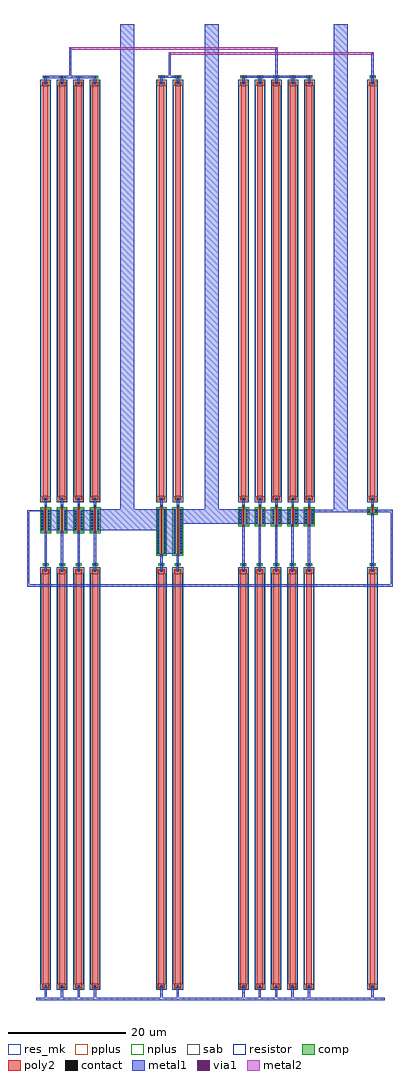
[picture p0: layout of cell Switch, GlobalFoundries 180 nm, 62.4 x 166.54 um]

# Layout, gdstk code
from math import pi, radians
import gdstk
lib = gdstk.Library(unit=1e-6, precision=2e-08)
def R(c, l, rs):  # rectangles x0, y0, x1, y1
    for r in rs: c.add(gdstk.rectangle(r[:2], r[2:], *l))
def A(c, l, x, y, w, h, nx, ny, dx, dy):  # array of equal rectangles
    R(c, l, [(x+i*dx, y+j*dy, x+i*dx+w, y+j*dy+h) for i in range(nx) for j in range(ny)])
comp = (22, 0)
poly2 = (30, 0)
pplus = (31, 0)
nplus = (32, 0)
contact = (33, 0)
metal1 = (34, 0)
via1 = (35, 0)
metal2 = (36, 0)
sab = (49, 0)
resistor = (62, 0)
res_mk = (110, 5)

nfet_3 = lib.new_cell('nfet$3')
R(nfet_3, comp, [(-0.42,0,0,7.84), (0,0,0.66,7.84), (0.66,0,1.08,7.84)])
R(nfet_3, poly2, [(0.2,-0.3,0.48,8.14), (0.16,8.14,0.52,8.5)])
R(nfet_3, nplus, [(-0.6,-0.24,1.26,8.08)])
R(nfet_3, contact, [(-0.32,0.24,-0.1,0.46), (0.76,0.24,0.98,0.46), (-0.32,0.76,-0.1,0.98), (0.76,0.76,0.98,0.98), (-0.32,1.26,-0.1,1.48), (0.76,1.26,0.98,1.48), (-0.32,1.78,-0.1,2), (0.76,1.78,0.98,2), (-0.32,2.28,-0.1,2.5), (0.76,2.28,0.98,2.5), (-0.32,2.8,-0.1,3.02), (0.76,2.8,0.98,3.02), (-0.32,3.3,-0.1,3.52), (0.76,3.3,0.98,3.52), (-0.32,3.82,-0.1,4.04), (0.76,3.82,0.98,4.04), (-0.32,4.32,-0.1,4.54), (0.76,4.32,0.98,4.54), (-0.32,4.84,-0.1,5.06), (0.76,4.84,0.98,5.06), (-0.32,5.34,-0.1,5.56), (0.76,5.34,0.98,5.56), (-0.32,5.86,-0.1,6.08), (0.76,5.86,0.98,6.08), (-0.32,6.36,-0.1,6.58), (0.76,6.36,0.98,6.58), (-0.32,6.88,-0.1,7.1), (0.76,6.88,0.98,7.1), (-0.32,7.38,-0.1,7.6), (0.76,7.38,0.98,7.6), (0.22,8.22,0.44,8.44)])
R(nfet_3, metal1, [(-0.4,0.16,-0.02,7.68), (0.68,0.16,1.06,7.68), (0.14,8.12,0.52,8.52)])

nfet = lib.new_cell('nfet')
R(nfet, comp, [(-0.42,0,0,2.8), (0,0,0.66,2.8), (0.66,0,1.08,2.8)])
R(nfet, poly2, [(0.2,-0.3,0.48,3.1), (0.16,3.1,0.52,3.46)])
R(nfet, nplus, [(-0.6,-0.24,1.26,3.04)])
R(nfet, contact, [(-0.32,0.28,-0.1,0.5), (0.76,0.28,0.98,0.5), (-0.32,0.78,-0.1,1), (0.76,0.78,0.98,1), (-0.32,1.3,-0.1,1.52), (0.76,1.3,0.98,1.52), (-0.32,1.8,-0.1,2.02), (0.76,1.8,0.98,2.02), (-0.32,2.32,-0.1,2.54), (0.76,2.32,0.98,2.54), (0.22,3.18,0.44,3.4)])
R(nfet, metal1, [(-0.4,0.2,-0.02,2.62), (0.68,0.2,1.06,2.62), (0.14,3.08,0.52,3.48)])

ppolyf_u_high_rs_resisto = lib.new_cell('ppolyf_u_high_Rs_resistor$1')
R(ppolyf_u_high_rs_resisto, comp, [(-1.76,0,-1.34,1)])
R(ppolyf_u_high_rs_resisto, poly2, [(-0.64,0,70.64,1)])
R(ppolyf_u_high_rs_resisto, pplus, [(-0.82,-0.18,0,1.18), (70,-0.18,70.82,1.18), (-1.78,-0.02,-1.32,1.02)])
R(ppolyf_u_high_rs_resisto, contact, [(-1.66,0.4,-1.44,0.62), (-0.58,0.4,-0.36,0.62), (70.36,0.4,70.58,0.62)])
R(ppolyf_u_high_rs_resisto, metal1, [(-1.74,0.3,-1.36,0.7), (-0.66,0.3,-0.28,0.7), (70.28,0.3,70.66,0.7)])
R(ppolyf_u_high_rs_resisto, sab, [(-0.1,-0.28,70.1,1.28)])
R(ppolyf_u_high_rs_resisto, resistor, [(-1.04,-0.4,71.04,1.4)])
R(ppolyf_u_high_rs_resisto, res_mk, [(0,0,70,1)])

c_ppolyf_u_high_rs_resisto = lib.new_cell('ppolyf_u_high_Rs_resistor')
R(c_ppolyf_u_high_rs_resisto, comp, [(-1.76,0,-1.34,1)])
R(c_ppolyf_u_high_rs_resisto, poly2, [(-0.64,0,70.64,1)])
R(c_ppolyf_u_high_rs_resisto, pplus, [(-0.82,-0.18,0,1.18), (70,-0.18,70.82,1.18), (-1.78,-0.02,-1.32,1.02)])
R(c_ppolyf_u_high_rs_resisto, contact, [(-1.66,0.4,-1.44,0.62), (-0.58,0.4,-0.36,0.62), (70.36,0.4,70.58,0.62)])
R(c_ppolyf_u_high_rs_resisto, metal1, [(-1.74,0.3,-1.36,0.7), (-0.66,0.3,-0.28,0.7), (70.28,0.3,70.66,0.7)])
R(c_ppolyf_u_high_rs_resisto, sab, [(-0.1,-0.28,70.1,1.28)])
R(c_ppolyf_u_high_rs_resisto, resistor, [(-1.04,-0.4,71.04,1.4)])
R(c_ppolyf_u_high_rs_resisto, res_mk, [(0,0,70,1)])

nfet_5 = lib.new_cell('nfet$5')
R(nfet_5, comp, [(-0.42,0,0,3.92), (0,0,0.66,3.92), (0.66,0,1.08,3.92)])
R(nfet_5, poly2, [(0.2,-0.3,0.48,4.22), (0.16,4.22,0.52,4.58)])
R(nfet_5, nplus, [(-0.6,-0.24,1.26,4.16)])
R(nfet_5, contact, [(-0.32,0.32,-0.1,0.54), (0.76,0.32,0.98,0.54), (-0.32,0.84,-0.1,1.06), (0.76,0.84,0.98,1.06), (-0.32,1.34,-0.1,1.56), (0.76,1.34,0.98,1.56), (-0.32,1.86,-0.1,2.08), (0.76,1.86,0.98,2.08), (-0.32,2.36,-0.1,2.58), (0.76,2.36,0.98,2.58), (-0.32,2.88,-0.1,3.1), (0.76,2.88,0.98,3.1), (-0.32,3.38,-0.1,3.6), (0.76,3.38,0.98,3.6), (0.22,4.3,0.44,4.52)])
R(nfet_5, metal1, [(-0.4,0.24,-0.02,3.68), (0.68,0.24,1.06,3.68), (0.14,4.2,0.52,4.6)])

nfet_6 = lib.new_cell('nfet$6')
R(nfet_6, comp, [(-0.42,0,0,0.84), (0,0,0.66,0.84), (0.66,0,1.08,0.84)])
R(nfet_6, poly2, [(0.2,-0.3,0.48,1.14), (0.16,1.14,0.52,1.5)])
R(nfet_6, nplus, [(-0.6,-0.24,1.26,1.08)])
R(nfet_6, contact, [(-0.32,0.32,-0.1,0.54), (0.76,0.32,0.98,0.54), (0.22,1.22,0.44,1.44)])
R(nfet_6, metal1, [(-0.4,0.22,-0.02,0.62), (0.68,0.22,1.06,0.62), (0.14,1.12,0.52,1.52)])

c_ppolyf_u_high_rs_resisto_ = lib.new_cell('ppolyf_u_high_Rs_resistor$2')
R(c_ppolyf_u_high_rs_resisto_, comp, [(-1.76,0,-1.34,1)])
R(c_ppolyf_u_high_rs_resisto_, poly2, [(-0.64,0,70.64,1)])
R(c_ppolyf_u_high_rs_resisto_, pplus, [(-0.82,-0.18,0,1.18), (70,-0.18,70.82,1.18), (-1.78,-0.02,-1.32,1.02)])
R(c_ppolyf_u_high_rs_resisto_, contact, [(-1.66,0.4,-1.44,0.62), (-0.58,0.4,-0.36,0.62), (70.36,0.4,70.58,0.62)])
R(c_ppolyf_u_high_rs_resisto_, metal1, [(-1.74,0.3,-1.36,0.7), (-0.66,0.3,-0.28,0.7), (70.28,0.3,70.66,0.7)])
R(c_ppolyf_u_high_rs_resisto_, sab, [(-0.1,-0.28,70.1,1.28)])
R(c_ppolyf_u_high_rs_resisto_, resistor, [(-1.04,-0.4,71.04,1.4)])
R(c_ppolyf_u_high_rs_resisto_, res_mk, [(0,0,70,1)])

via_dev = lib.new_cell('via_dev')

switch = lib.new_cell('Switch')
A(switch, metal1, 14.7, -70.14, 0.4, 1.7, 5, 1, 2.8, 0)
A(switch, metal1, 14.7, 2.88, 0.4, 0.7, 5, 1, 2.8, 0)
A(switch, metal1, 14.7, 3.96, 0.4, 6.56, 5, 1, 2.8, 0)
A(switch, metal1, 15.66, 10.72, 1.34, 2.42, 4, 1, 2.8, 0)
A(switch, metal1, 14.74, 14, 0.38, 0.78, 5, 1, 2.8, 0)
A(switch, metal1, -19.06, 86.08, 0.4, 0.7, 4, 1, 2.82, 0)
R(switch, metal1, [(-20.46,-70.54,39.06,-70.14), (-19.04,-70.14,-18.64,-68.44), (-16.24,-70.14,-15.84,-68.44), (-13.4,-70.14,-13,-68.44), (-10.6,-70.14,-10.2,-68.44), (0.7,-70.14,1.1,-68.44), (3.5,-70.14,3.9,-68.44), (36.74,-70.14,37.14,-68.44), (-22,0,40,0.4), (40,0,40.4,12.7), (-22,0.4,-21.6,13.06), (-19.04,2.88,-18.64,3.58), (-16.24,2.88,-15.84,3.58), (-13.4,2.88,-13,3.58), (-10.6,2.88,-10.2,3.58), (0.7,2.88,1.1,3.58), (3.5,2.88,3.9,3.58), (36.74,2.88,37.14,3.58), (-19.04,3.96,-18.64,9.38), (-16.24,3.96,-15.84,9.38), (-13.4,3.96,-13,9.38), (-10.6,3.96,-10.2,9.38), (0.7,3.96,1.1,5.48), (3.5,3.96,3.9,5.48), (36.74,3.96,37.14,12.48), (1.66,5.64,3,13.16), (-18.12,9.62,-16.78,13.06), (-15.32,9.62,-13.94,13.06), (-12.48,9.62,-11.14,13.06), (-9.68,9.62,0.2,13.16), (4.46,10.72,14.2,13.16), (26.86,12.7,36.2,13.14), (37.66,12.7,40.4,13.1), (-21.6,12.84,-19.58,13.06), (30.3,13.14,32.68,96), (-6.14,13.16,-3.76,96), (8.32,13.16,10.7,96), (-19.04,13.98,-18.66,14.76), (-16.24,13.98,-15.86,14.76), (-13.4,13.98,-13.02,14.76), (-10.6,13.98,-10.22,14.76), (0.74,14,1.12,14.78), (3.54,14,3.92,14.78), (36.74,14,37.12,14.78), (0.72,86.1,1.12,86.8), (3.54,86.1,3.94,86.8), (14.72,86.1,15.12,86.8), (17.54,86.1,17.94,86.8), (20.32,86.1,20.72,86.8), (23.14,86.1,23.54,86.8), (25.94,86.1,26.34,86.8), (36.74,86.1,37.14,86.8), (-18.66,86.78,-16.24,87.16), (-15.84,86.78,-13.44,87.16), (-13.02,86.78,-10.6,87.16), (1.12,86.8,3.54,87.18), (15.12,86.8,17.54,87.18), (17.94,86.8,20.32,87.18), (20.72,86.8,23.14,87.18), (23.54,86.8,25.94,87.18), (-14.84,87.16,-14.44,92), (2.12,87.18,2.52,91.2), (20.32,87.18,20.72,92), (36.74,87.18,37.14,91.2)])
R(switch, via1, [(2.16,90.82,2.48,91.16), (36.78,90.82,37.1,91.16), (-14.8,91.64,-14.48,91.96), (20.36,91.64,20.68,91.96)])
R(switch, metal2, [(2.12,90.78,37.14,91.2), (-14.84,91.6,20.72,92)])
switch.add(gdstk.Reference(nfet_3, (3.4,5.48)))
switch.add(gdstk.Reference(nfet, (14.6,10.52)))
switch.add(gdstk.Reference(nfet_3, (0.6,5.48)))
switch.add(gdstk.Reference(nfet, (17.4,10.52)))
switch.add(gdstk.Reference(nfet, (20.2,10.52)))
switch.add(gdstk.Reference(nfet, (23,10.52)))
switch.add(gdstk.Reference(nfet, (25.8,10.52)))
switch.add(gdstk.Reference(ppolyf_u_high_rs_resisto, (0.4,2.22), rotation=3*pi/2))
switch.add(gdstk.Reference(ppolyf_u_high_rs_resisto, (0.42,85.44), rotation=3*pi/2))
switch.add(gdstk.Reference(ppolyf_u_high_rs_resisto, (3.24,85.44), rotation=3*pi/2))
switch.add(gdstk.Reference(ppolyf_u_high_rs_resisto, (14.4,2.22), rotation=3*pi/2))
switch.add(gdstk.Reference(ppolyf_u_high_rs_resisto, (3.2,2.22), rotation=3*pi/2))
switch.add(gdstk.Reference(ppolyf_u_high_rs_resisto, (14.42,85.44), rotation=3*pi/2))
switch.add(gdstk.Reference(ppolyf_u_high_rs_resisto, (17.24,85.44), rotation=3*pi/2))
switch.add(gdstk.Reference(ppolyf_u_high_rs_resisto, (20.02,85.44), rotation=3*pi/2))
switch.add(gdstk.Reference(ppolyf_u_high_rs_resisto, (17.2,2.22), rotation=3*pi/2))
switch.add(gdstk.Reference(ppolyf_u_high_rs_resisto, (20,2.22), rotation=3*pi/2))
switch.add(gdstk.Reference(ppolyf_u_high_rs_resisto, (22.8,2.22), rotation=3*pi/2))
switch.add(gdstk.Reference(ppolyf_u_high_rs_resisto, (25.6,2.22), rotation=3*pi/2))
switch.add(gdstk.Reference(ppolyf_u_high_rs_resisto, (22.84,85.44), rotation=3*pi/2))
switch.add(gdstk.Reference(ppolyf_u_high_rs_resisto, (25.64,85.44), rotation=3*pi/2))
switch.add(gdstk.Reference(c_ppolyf_u_high_rs_resisto, (-19.34,2.22), rotation=3*pi/2))
switch.add(gdstk.Reference(c_ppolyf_u_high_rs_resisto, (-16.54,2.22), rotation=3*pi/2))
switch.add(gdstk.Reference(c_ppolyf_u_high_rs_resisto, (-13.7,2.22), rotation=3*pi/2))
switch.add(gdstk.Reference(c_ppolyf_u_high_rs_resisto, (-10.9,2.22), rotation=3*pi/2))
switch.add(gdstk.Reference(nfet_5, (-10.74,9.38)))
switch.add(gdstk.Reference(nfet_5, (-13.54,9.38)))
switch.add(gdstk.Reference(nfet_5, (-16.38,9.38)))
switch.add(gdstk.Reference(nfet_5, (-19.18,9.38)))
switch.add(gdstk.Reference(c_ppolyf_u_high_rs_resisto, (-13.72,85.42), rotation=3*pi/2))
switch.add(gdstk.Reference(c_ppolyf_u_high_rs_resisto, (-10.9,85.42), rotation=3*pi/2))
switch.add(gdstk.Reference(c_ppolyf_u_high_rs_resisto, (-19.36,85.42), rotation=3*pi/2))
switch.add(gdstk.Reference(c_ppolyf_u_high_rs_resisto, (-16.54,85.42), rotation=3*pi/2))
switch.add(gdstk.Reference(nfet_6, (36.6,12.48)))
switch.add(gdstk.Reference(c_ppolyf_u_high_rs_resisto_, (36.44,85.44), rotation=3*pi/2))
switch.add(gdstk.Reference(via_dev, (3.46,89.06)))
switch.add(gdstk.Reference(via_dev, (2.94,90.46)))
switch.add(gdstk.Reference(via_dev, (4.08,89.84)))
switch.add(gdstk.Reference(via_dev, (3.44,90.54)))
switch.add(gdstk.Reference(via_dev, (4.9,88.42)))
switch.add(gdstk.Reference(via_dev, (3.5,90.34)))
switch.add(gdstk.Reference(c_ppolyf_u_high_rs_resisto_, (36.44,2.22), rotation=3*pi/2))

lib.write_gds('Switch.gds')
